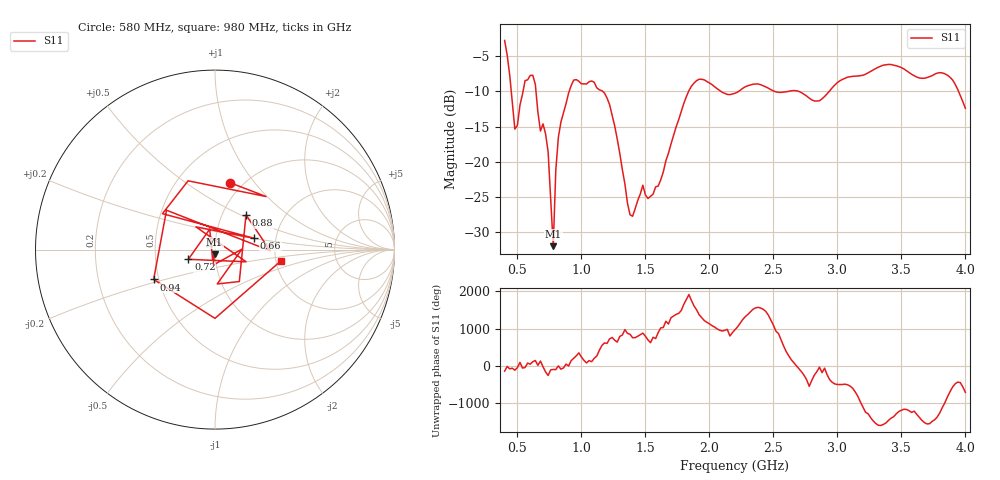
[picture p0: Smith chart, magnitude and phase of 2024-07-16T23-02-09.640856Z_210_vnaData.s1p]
!Created with skrf (http://scikit-rf.org).
# Hz S RI R 50.0
!freq ReS11 ImS11
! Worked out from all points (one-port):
!   181 points, 400 MHz to 4 GHz, reference 50 ohm
!   lowest |S11| = -31.9 dB at 780 MHz (marker M1), VSWR 1.05, Z = 49.7 - j2.5 ohm
!   |S11| at or under -10 dB: 645.1 MHz to 904.4 MHz (259.3 MHz wide, 33.5 % of centre); 1.166 GHz to 1.838 GHz (671.8 MHz wide, 44.7 % of centre); 2.698 GHz to 2.936 GHz (238.1 MHz wide, 8.45 % of centre) (the widest 3 of 7)
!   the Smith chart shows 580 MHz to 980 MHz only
!   S11 on the Smith chart (normalised r, x): 580 MHz: 0.87, +0.76; 660 MHz: 1.54, +0.21; 720 MHz: 0.74, -0.08; 880 MHz: 1.29, +0.53; 940 MHz: 0.47, -0.18; 980 MHz: 2.13, -0.31
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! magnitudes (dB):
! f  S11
! 400 MHz  -2.8
! 480 MHz  -15.3
! 580 MHz  -8.4
! 620 MHz  -7.7
! 660 MHz  -12.9
! 720 MHz  -16.0
! 740 MHz  -18.6
! 780 MHz  -31.9
! 800 MHz  -21.2
! 820 MHz  -16.5
! 860 MHz  -13.0
! 880 MHz  -11.7
! 940 MHz  -8.4
! 980 MHz  -8.6
! 1.18 GHz  -10.2
! 1.3 GHz  -18.8
! 1.4 GHz  -27.7
! 1.48 GHz  -23.3
! 1.6 GHz  -23.4
! 1.76 GHz  -14.0
! 1.92 GHz  -8.3
! 2.2 GHz  -10.3
! 2.66 GHz  -9.9
! 2.86 GHz  -11.3
! 3.1 GHz  -7.9
! 3.56 GHz  -7.3
! 3.86 GHz  -7.7
! 4 GHz  -12.4
